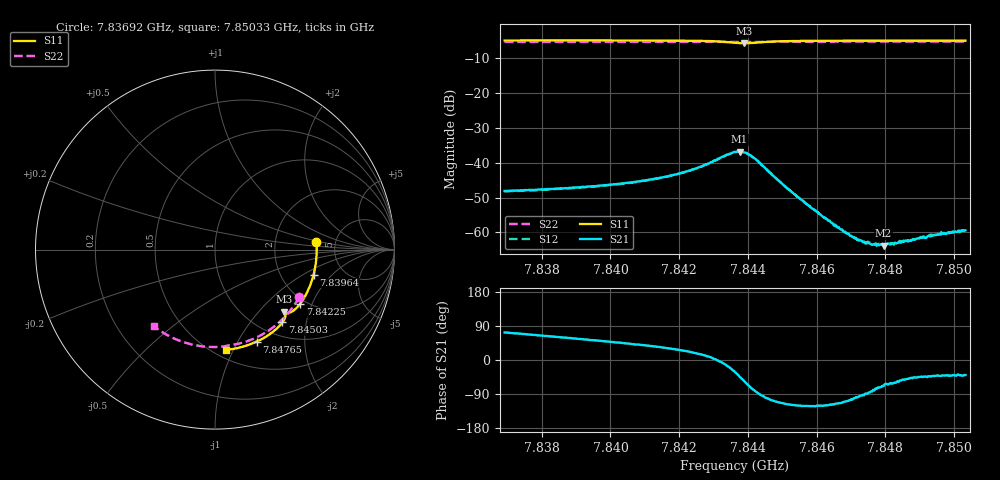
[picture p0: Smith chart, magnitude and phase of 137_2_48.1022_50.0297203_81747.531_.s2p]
#  HZ  S  RI  R  50.00
! Rohde & Schwarz Vector Network Analyzer
! Rohde-Schwarz,ZNB20-2Port,1311601062101988,3.16
! Created: UTC 12/23/2023, 3:48:22 AM
! freq[Hz]  re:S11  im:S11  re:S21  im:S21  re:S12  im:S12  re:S22  im:S22
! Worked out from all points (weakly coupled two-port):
!   401 points, 7.83692 GHz to 7.85033 GHz, reference 50 ohm
!   highest |S21| = -36.78 dB at 7.84376 GHz (marker M1); lowest = -63.7 dB at 7.84795 GHz (marker M2)
!   lowest |S11| = -5.7 dB at 7.84389 GHz (marker M3), VSWR 3.14, Z = 73.6 - j69.4 ohm
!   |S11| at or under -10 dB: nowhere
!   |S22| runs from -5.4 to -5.3 dB; largest |S21 - S12| = 0.00033
!   S11 on the Smith chart (normalised r, x): 7.83692 GHz: 3.55, +0.43; 7.83964 GHz: 3.06, -1.25; 7.84225 GHz: 1.86, -1.64; 7.84503 GHz: 1.25, -1.46; 7.84765 GHz: 0.80, -1.20; 7.85033 GHz: 0.57, -0.93
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7.836921e9  0.5645 0.0409  0.00118 0.00376  0.0012 0.0037  0.4698 -0.2652
7.839166e9  0.5566 -0.1081  0.00257 0.00367  0.00254 0.00363  0.3742 -0.3898
7.839636e9  0.5497 -0.1389  0.00292 0.00365  0.00287 0.00358  0.35 -0.4119
7.840574e9  0.5303 -0.1993  0.00383 0.00354  0.00374 0.00353  0.2976 -0.4516
7.841412e9  0.5064 -0.2519  0.00499 0.00343  0.00492 0.00339  0.2468 -0.4816
7.84225e9  0.4742 -0.3028  0.00701 0.00293  0.00694 0.00294  0.1929 -0.5056
7.843121e9  0.4246 -0.3478  0.0114 -0.000217  0.0111 -8.7e-05  0.1343 -0.5235
7.843624e9  0.3895 -0.3522  0.0122 -0.00752  0.0121 -0.00749  0.1008 -0.5297
7.843758e9  0.3852 -0.3484  0.0104 -0.0101  0.0104 -0.0101  0.0924 -0.5309
7.843892e9  0.3849 -0.3453  0.00789 -0.0117  0.00798 -0.0116  0.0836 -0.5324
7.844093e9  0.3893 -0.347  0.0035 -0.0121  0.00367 -0.012  0.0709 -0.535
7.844227e9  0.3921 -0.3526  0.00132 -0.0112  0.00136 -0.011  0.0621 -0.5367
7.845032e9  0.376 -0.4051  -0.00199 -0.00437  -0.00198 -0.00439  0.00595 -0.5425
7.84587e9  0.3348 -0.4487  -0.00115 -0.00188  -0.00116 -0.00188  -0.0532 -0.541
7.84654e9  0.2976 -0.4767  -0.000553 -0.00115  -0.000571 -0.00116  -0.0998 -0.5347
7.847143e9  0.2623 -0.4977  -0.000117 -0.00083  -0.000122 -0.000801  -0.1414 -0.5257
7.847411e9  0.2461 -0.506  1.64e-05 -0.000705  2.35e-05 -0.000699  -0.1594 -0.5208
7.847646e9  0.2318 -0.5129  0.000133 -0.000663  0.000108 -0.00068  -0.1752 -0.5158
7.847948e9  0.2133 -0.521  0.000233 -0.000607  0.000226 -0.000601  -0.195 -0.5087
7.848115e9  0.2028 -0.5252  0.000313 -0.000602  0.000283 -0.000602  -0.2061 -0.5044
7.849691e9  0.1017 -0.5534  0.000732 -0.000628  0.000742 -0.000602  -0.3039 -0.4534
7.850327e9  0.0599 -0.5593  0.000826 -0.000688  0.000838 -0.000693  -0.34 -0.4274
